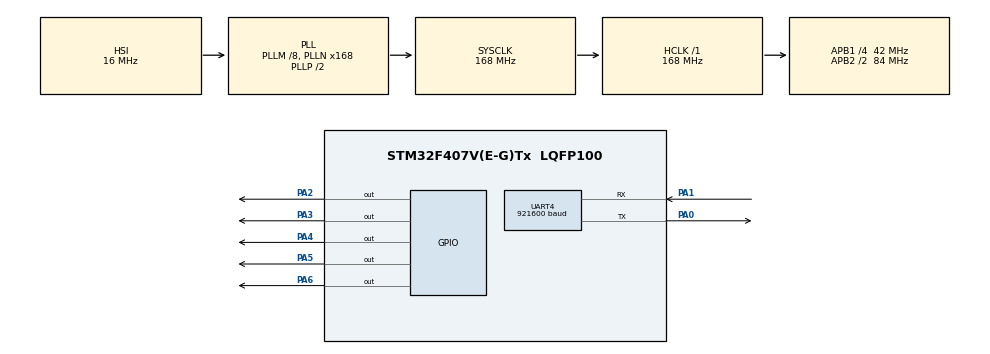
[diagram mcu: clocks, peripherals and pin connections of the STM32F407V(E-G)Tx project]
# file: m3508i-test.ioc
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Mcu.Family=STM32F4
Mcu.Name=STM32F407V(E-G)Tx
Mcu.Package=LQFP100
NVIC.PriorityGroup=NVIC_PRIORITYGROUP_4
PA0-WKUP.Mode=Asynchronous
PA0-WKUP.Signal=UART4_TX
PA1.Mode=Asynchronous
PA1.Signal=UART4_RX
PA2.GPIO_Speed=GPIO_SPEED_FREQ_VERY_HIGH
PA2.Signal=GPIO_Output
PA3.GPIO_Speed=GPIO_SPEED_FREQ_VERY_HIGH
PA3.PinState=GPIO_PIN_SET
PA3.Signal=GPIO_Output
PA4.GPIO_Speed=GPIO_SPEED_FREQ_VERY_HIGH
PA4.PinState=GPIO_PIN_SET
PA4.Signal=GPIO_Output
PA5.GPIO_Speed=GPIO_SPEED_FREQ_VERY_HIGH
PA5.PinState=GPIO_PIN_SET
PA5.Signal=GPIO_Output
PA6.GPIO_Speed=GPIO_SPEED_FREQ_VERY_HIGH
PA6.PinState=GPIO_PIN_SET
PA6.Signal=GPIO_Output
PH0-OSC_IN.Mode=HSE-External-Oscillator
PH0-OSC_IN.Signal=RCC_OSC_IN
PH1-OSC_OUT.Mode=HSE-External-Oscillator
PH1-OSC_OUT.Signal=RCC_OSC_OUT
ProjectManager.HeapSize=0x200
ProjectManager.StackSize=0x400
ProjectManager.TargetToolchain=STM32CubeIDE
RCC.48MHZClocksFreq_Value=84000000
RCC.AHBFreq_Value=168000000
RCC.APB1CLKDivider=RCC_HCLK_DIV4
RCC.APB1Freq_Value=42000000
RCC.APB1TimFreq_Value=84000000
RCC.APB2CLKDivider=RCC_HCLK_DIV2
RCC.APB2Freq_Value=84000000
RCC.APB2TimFreq_Value=168000000
RCC.CortexFreq_Value=168000000
RCC.HCLKFreq_Value=168000000
RCC.HSE_VALUE=8000000
RCC.HSI_VALUE=16000000
RCC.LSE_VALUE=32768
RCC.PLLM=8
RCC.PLLN=168
RCC.SYSCLKFreq_VALUE=168000000
RCC.SYSCLKSource=RCC_SYSCLKSOURCE_PLLCLK
RCC.VCOOutputFreq_Value=336000000
UART4.BaudRate=921600
UART4.VirtualMode=Asynchronous
board=custom

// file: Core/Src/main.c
/* USER CODE BEGIN Header */
/**
  ******************************************************************************
  * @file           : main.c
  * @brief          : Main program body
  ******************************************************************************
  * @attention
  *
  * Copyright (c) 2026 STMicroelectronics.
  * All rights reserved.
  *
  * This software is licensed under terms that can be found in the LICENSE file
  * in the root directory of this software component.
  * If no LICENSE file comes with this software, it is provided AS-IS.
  *
  ******************************************************************************
  */
/* USER CODE END Header */
#include "main.h"
#include "usart.h"
#include "gpio.h"

/* USER CODE BEGIN Includes */
#include <stdbool.h>
#include "m3508i.h"
/* USER CODE END Includes */

void SystemClock_Config(void);

/* USER CODE BEGIN 0 */

#define M3508I_MOTOR_COUNT 4u
#define M3508I_TARGET_SPEED_RPM 50.0f
#define M3508I_TARGET_TURNS 2
#define M3508I_PID_KP 0.1f
#define M3508I_PID_KI 0.0f
#define M3508I_PID_KD 0.0f
#define M3508I_PID_MAX_RPM 50.0f
#define M3508I_PID_MIN_RPM 20.0f
#define M3508I_PID_INTEGRAL_LIMIT 20000.0f
#define M3508I_ANGLE_TOLERANCE 64
#define M3508I_SETTLE_SAMPLES 20u
#define M3508I_MOTOR_TIMEOUT_MS 8000u
#define M3508I_UART_TIMEOUT_MS 5u

static HAL_StatusTypeDef m3508i_send(struct m3508i_cmd (*cmd)[M3508I_MOTOR_COUNT], uint8_t responder_id)
{
	uint8_t frame[M3508I_COMMAND_FRAME_SIZE];
	HAL_StatusTypeDef status;
	m3508i_build_frame(&frame, responder_id, cmd);
	HAL_GPIO_WritePin(GPIOA, GPIO_PIN_2, GPIO_PIN_SET);
	status = HAL_UART_Transmit(&huart4, frame, sizeof(frame), 10);
	HAL_GPIO_WritePin(GPIOA, GPIO_PIN_2, GPIO_PIN_RESET);
	return status;
}

static bool m3508i_exchange(uint8_t motor, struct m3508i_cmd (*cmd)[M3508I_MOTOR_COUNT], struct m3508i_reply *reply)
{
	uint8_t frame[M3508I_REPLY_FRAME_SIZE];
	if (m3508i_send(cmd, motor) != HAL_OK)
		return false;
	if (HAL_UART_Receive(&huart4, frame, sizeof(frame), M3508I_UART_TIMEOUT_MS) != HAL_OK)
		return false;
	return m3508i_parse_frame(reply, &frame) && reply->motor_id == motor;
}

static bool m3508i_disable_all(struct m3508i_cmd (*cmd)[M3508I_MOTOR_COUNT])
{
	uint8_t frame[M3508I_REPLY_FRAME_SIZE];
	uint8_t motor;
	for (motor = 0; motor < M3508I_MOTOR_COUNT; motor++) {
		(*cmd)[motor].speed_rpm = 0.0f;
		(*cmd)[motor].enable = false;
	}
	if (m3508i_send(cmd, 0) != HAL_OK)
		return false;
	return HAL_UART_Receive(&huart4, frame, sizeof(frame), M3508I_UART_TIMEOUT_MS) == HAL_OK;
}

static int32_t m3508i_angle_delta(uint16_t current, uint16_t previous)
{
	int32_t delta = (int32_t)current - (int32_t)previous;
	const int32_t half_turn = (int32_t)M3508I_ANGLE_COUNTS_PER_TURN / 2;
	if (delta > half_turn)
		delta -= (int32_t)M3508I_ANGLE_COUNTS_PER_TURN;
	if (delta < -half_turn)
		delta += (int32_t)M3508I_ANGLE_COUNTS_PER_TURN;
	return delta;
}

static int32_t m3508i_abs(int32_t value)
{
	return value < 0 ? -value : value;
}

static bool m3508i_run_turns(uint8_t motor)
{
	const uint16_t led[4] = {GPIO_PIN_3, GPIO_PIN_4, GPIO_PIN_5, GPIO_PIN_6};
	const int32_t target_counts = (int32_t)M3508I_ANGLE_COUNTS_PER_TURN * M3508I_TARGET_TURNS;
	struct m3508i_cmd cmd[M3508I_MOTOR_COUNT] = {{0.0f, false}, {0.0f, false}, {0.0f, false}, {0.0f, false}};
	struct m3508i_reply reply;
	uint16_t previous_angle;
	uint32_t previous_tick;
	uint32_t start_tick;
	uint32_t settled = 0;
	int32_t travelled = 0;
	float integral = 0.0f;
	float previous_error = (float)target_counts;

	HAL_GPIO_WritePin(GPIOA, led[motor], GPIO_PIN_RESET);
	if (!m3508i_disable_all(&cmd))
		goto fail;
	HAL_Delay(5);
	if (!m3508i_exchange(motor, &cmd, &reply))
		goto fail;
	previous_angle = reply.angle_count;
	previous_tick = HAL_GetTick();
	start_tick = previous_tick;
	cmd[motor].speed_rpm = M3508I_TARGET_SPEED_RPM;
	cmd[motor].enable = true;
	while (HAL_GetTick() - start_tick < M3508I_MOTOR_TIMEOUT_MS) {
		uint32_t now;
		float dt;
		float error_float;
		float derivative;
		float speed;
		int32_t error;
		int32_t delta;
		if (!m3508i_exchange(motor, &cmd, &reply))
			goto fail;
		delta = m3508i_angle_delta(reply.angle_count, previous_angle);
		travelled += delta;
		now = HAL_GetTick();
		dt = (float)(now - previous_tick) / 1000.0f;
		if (dt <= 0.0f)
			dt = 0.001f;
		error = target_counts - travelled;
		error_float = (float)error;
		integral += error_float * dt;
		if (integral > M3508I_PID_INTEGRAL_LIMIT)
			integral = M3508I_PID_INTEGRAL_LIMIT;
		if (integral < -M3508I_PID_INTEGRAL_LIMIT)
			integral = -M3508I_PID_INTEGRAL_LIMIT;
		derivative = (error_float - previous_error) / dt;
		speed = M3508I_PID_KP * error_float + M3508I_PID_KI * integral + M3508I_PID_KD * derivative;
		if (speed > M3508I_PID_MAX_RPM)
			speed = M3508I_PID_MAX_RPM;
		if (speed < -M3508I_PID_MAX_RPM)
			speed = -M3508I_PID_MAX_RPM;
		if (speed > 0.0f && speed < M3508I_PID_MIN_RPM)
			speed = M3508I_PID_MIN_RPM;
		if (speed < 0.0f && speed > -M3508I_PID_MIN_RPM)
			speed = -M3508I_PID_MIN_RPM;
		if (m3508i_abs(error) <= M3508I_ANGLE_TOLERANCE) {
			cmd[motor].speed_rpm = 0.0f;
			settled++;
			if (settled >= M3508I_SETTLE_SAMPLES) {
				if (!m3508i_disable_all(&cmd))
					goto fail;
				HAL_GPIO_WritePin(GPIOA, led[motor], GPIO_PIN_SET);
				return true;
			}
		} else {
			settled = 0;
			cmd[motor].speed_rpm = speed;
		}
		previous_error = error_float;
		previous_angle = reply.angle_count;
		previous_tick = now;
	}

fail:
	m3508i_disable_all(&cmd);
	HAL_GPIO_WritePin(GPIOA, led[motor], GPIO_PIN_SET);
	return false;
}

static void m3508i_stop_forever(void)
{
	struct m3508i_cmd cmd[M3508I_MOTOR_COUNT] = {{0.0f, false}, {0.0f, false}, {0.0f, false}, {0.0f, false}};
	while (1) {
		m3508i_disable_all(&cmd);
		HAL_Delay(100);
	}
}

/* USER CODE END 0 */

int main(void)
{

  /* USER CODE BEGIN 1 */
	uint8_t motor;
  /* USER CODE END 1 */

  /* MCU Configuration--------------------------------------------------------*/

  /* Reset of all peripherals, Initializes the Flash interface and the Systick. */
  HAL_Init();

  /* Configure the system clock */
  SystemClock_Config();

  /* Initialize all configured peripherals */
  MX_GPIO_Init();
  MX_UART4_Init();
  /* USER CODE BEGIN 2 */
	HAL_GPIO_WritePin(GPIOA, GPIO_PIN_3 | GPIO_PIN_4 | GPIO_PIN_5 | GPIO_PIN_6, GPIO_PIN_SET);

  /* USER CODE END 2 */

  /* Infinite loop */
  /* USER CODE BEGIN WHILE */
  while (1) {
    for (motor = 0; motor < M3508I_MOTOR_COUNT; motor++) {
    	if (!m3508i_run_turns(motor)) {
    		m3508i_stop_forever();
    	}
    	HAL_Delay(300);
    }
  }
    /* USER CODE END WHILE */

}

void SystemClock_Config(void)
{
  RCC_OscInitTypeDef RCC_OscInitStruct = {0};
  RCC_ClkInitTypeDef RCC_ClkInitStruct = {0};

  /** Configure the main internal regulator output voltage
  */
  __HAL_RCC_PWR_CLK_ENABLE();
  __HAL_PWR_VOLTAGESCALING_CONFIG(PWR_REGULATOR_VOLTAGE_SCALE1);

  /** Initializes the RCC Oscillators according to the specified parameters
  * in the RCC_OscInitTypeDef structure.
  */
  RCC_OscInitStruct.OscillatorType = RCC_OSCILLATORTYPE_HSI;
  RCC_OscInitStruct.HSIState = RCC_HSI_ON;
  RCC_OscInitStruct.HSICalibrationValue = RCC_HSICALIBRATION_DEFAULT;
  RCC_OscInitStruct.PLL.PLLState = RCC_PLL_ON;
  RCC_OscInitStruct.PLL.PLLSource = RCC_PLLSOURCE_HSI;
  RCC_OscInitStruct.PLL.PLLM = 8;
  RCC_OscInitStruct.PLL.PLLN = 168;
  RCC_OscInitStruct.PLL.PLLP = RCC_PLLP_DIV2;
  RCC_OscInitStruct.PLL.PLLQ = 4;
  if (HAL_RCC_OscConfig(&RCC_OscInitStruct) != HAL_OK)
  {
    Error_Handler();
  }

  /** Initializes the CPU, AHB and APB buses clocks
  */
  RCC_ClkInitStruct.ClockType = RCC_CLOCKTYPE_HCLK|RCC_CLOCKTYPE_SYSCLK
                              |RCC_CLOCKTYPE_PCLK1|RCC_CLOCKTYPE_PCLK2;
  RCC_ClkInitStruct.SYSCLKSource = RCC_SYSCLKSOURCE_PLLCLK;
  RCC_ClkInitStruct.AHBCLKDivider = RCC_SYSCLK_DIV1;
  RCC_ClkInitStruct.APB1CLKDivider = RCC_HCLK_DIV4;
  RCC_ClkInitStruct.APB2CLKDivider = RCC_HCLK_DIV2;

  if (HAL_RCC_ClockConfig(&RCC_ClkInitStruct, FLASH_LATENCY_5) != HAL_OK)
  {
    Error_Handler();
  }
}

void Error_Handler(void)
{
  __disable_irq();
  while (1)
  {
  }
}
